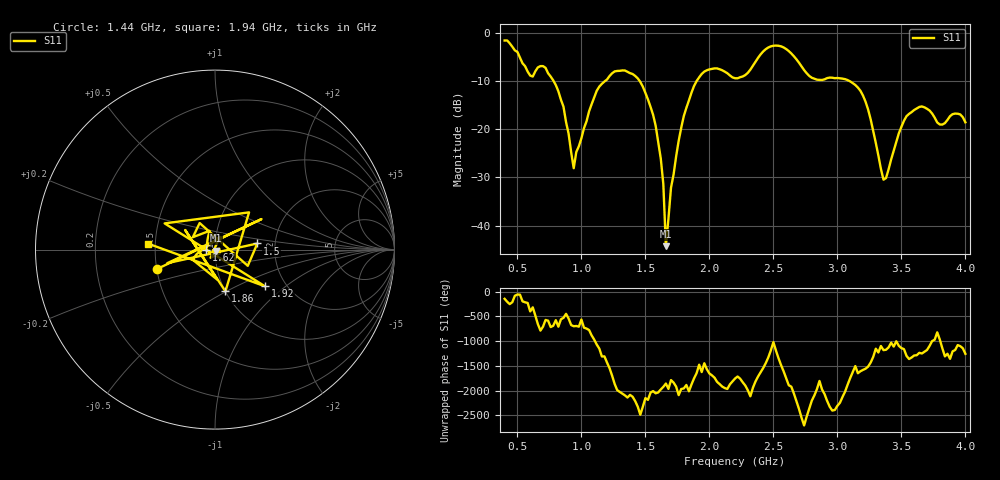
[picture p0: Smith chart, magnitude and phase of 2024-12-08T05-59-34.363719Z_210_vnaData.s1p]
!Created with skrf (http://scikit-rf.org).
# Hz S RI R 50.0
!freq ReS11 ImS11
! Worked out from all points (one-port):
!   181 points, 400 MHz to 4 GHz, reference 50 ohm
!   lowest |S11| = -44.3 dB at 1.66 GHz (marker M1), VSWR 1.01, Z = 50.3 - j0.511 ohm
!   |S11| at or under -10 dB: 783 MHz to 1.184 GHz (401.3 MHz wide, 40.8 % of centre); 1.455 GHz to 1.9 GHz (444.5 MHz wide, 26.5 % of centre); 3.095 GHz to end of sweep
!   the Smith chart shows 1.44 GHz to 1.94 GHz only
!   S11 on the Smith chart (normalised r, x): 1.44 GHz: 0.50, -0.12; 1.5 GHz: 1.61, +0.12; 1.62 GHz: 0.91, -0.01; 1.86 GHz: 1.00, -0.49; 1.92 GHz: 1.57, -0.73; 1.94 GHz: 0.46, +0.04
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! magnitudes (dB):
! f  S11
! 400 MHz  -1.6
! 600 MHz  -8.9
! 720 MHz  -7.2
! 860 MHz  -15.3
! 940 MHz  -28.1
! 1.12 GHz  -12.0
! 1.3 GHz  -7.9
! 1.44 GHz  -9.4
! 1.5 GHz  -12.5
! 1.58 GHz  -19.2
! 1.62 GHz  -26.1
! 1.64 GHz  -31.4
! 1.66 GHz  -44.3
! 1.7 GHz  -32.1
! 1.76 GHz  -22.4
! 1.86 GHz  -12.4
! 1.92 GHz  -9.2
! 1.94 GHz  -8.5
! 2.2 GHz  -9.4
! 2.48 GHz  -2.8
! 2.66 GHz  -4.8
! 2.8 GHz  -9.3
! 3.1 GHz  -10.1
! 3.22 GHz  -14.3
! 3.36 GHz  -30.5
! 3.56 GHz  -16.8
! 3.66 GHz  -15.3
! 4 GHz  -18.6
